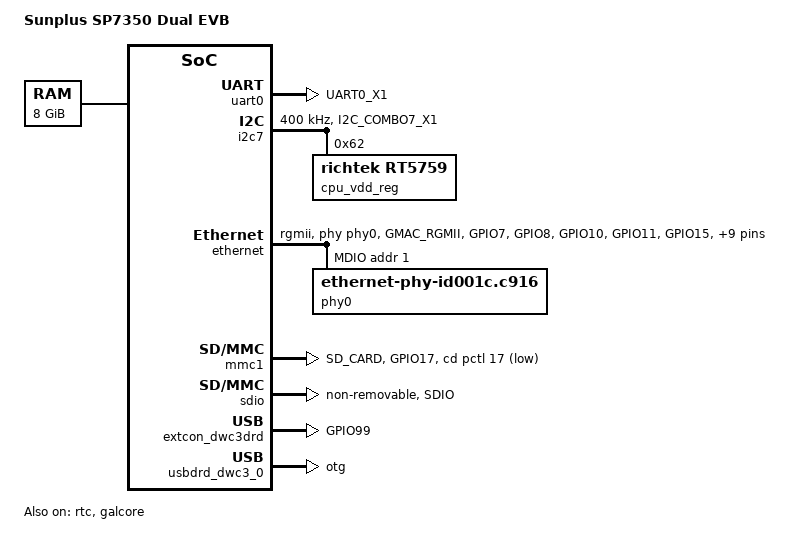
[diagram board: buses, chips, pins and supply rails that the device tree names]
// SPDX-License-Identifier: (GPL-2.0 OR MIT)
/* Copyright (c) 2018-2019 Sunplus */

//#define ENABLE_DMATX1
//#define ENABLE_DMATX2
//#define ENABLE_DMATX3
//#define ENABLE_DMATX6
//#define ENABLE_DMATX7

//#define SPI_LOOPBACK_MTTEST

//#define MIPI_CSI_4VC

#include "sp7350-common.dtsi"

/ {
	model = "Sunplus SP7350 Dual EVB";

	chosen {
		bootargs = "console=ttyS0,115200 earlycon loglevel=8 no_console_suspend ";
		stdout-path = "serial0:115200n8";
	};

	memory@0 {
		device_type = "memory";
		reg = <0x0 0x0        0x0 0xf0000000>,
		      <0x1 0x0        0x1 0x00000000>,
		      <0x3 0x0        0x0 0x10000000>;
	};

	reserved-memory {
		#address-cells = <2>;
		#size-cells = <2>;
		ranges;

		/* warmboot reserve memory: 0x100000-0x200000, total 1M, load firmware in rproc */
		rproc_0_reserved: rproc0@100000 {
			compatible = "shared-dma-pool";
			reg = <0x0 0x100000 0x0 0x100000>;
			no-map;
		};

		/* TF-A reserve memory: 0x200000-0x2fffff, total 1M */
		tfa_reserve@200000 {
			reg = <0x0 0x200000 0x0 0x100000>;
			no-map;
		};

		/*OP-TEE reserve memory: 0x300000-0x4fffff, total 2M */
		optee_reserve@300000 {
			reg = <0x0 0x300000 0x0 0x200000>;
			no-map;
		};

		/* remoteproc reserve memory: 0x5be00000-0x5befffff, total 1M */
		vdev0buffer: vdev0buffer@5be00000 {
			compatible = "shared-dma-pool";
			reg = <0x0 0x5be00000 0x0 0x100000>;
			no-map;
		};
		vdev0vring0: vdev0vring0@5bf00000 {
			compatible = "shared-dma-pool";
			reg = <0x0 0x5bf00000 0x0 0x10000>;
			no-map;
		};
		vdev0vring1: vdev0vring1@5bf10000 {
			compatible = "shared-dma-pool";
			reg = <0x0 0x5bf10000 0x0 0x10000>;
			no-map;
		};
		vdev0_reserve: vdev0_reserve@5bf20000 {
			compatible = "shared-dma-pool";
			reg = <0x0 0x5bf20000 0x0 0xe0000>;
			no-map;
		};

		/* NPU reserve memory: 0x780000000 ~ 0x7fffffff, total 128M */
		npu_reserve: npu_reserve@78000000 {
			reg = <0x0 0x78000000 0x0 0x8000000>;
			no-map;
		};

		/* CM4 reserve memory: 0xfa240000 ~ 0xfa29ffff, total 384K */
		rproc0runaddr: cm4runaddr@fa240000 {
			compatible = "shared-dma-pool";
			reg = <0x0 0xfa240000 0x0 0x60000>;
			no-map;
		};
	};

	cpu_opp_table: opp-table {
		compatible = "operating-points-v2";
		opp-shared;

		opp-5 {
			opp-hz = /bits/ 64 <500000000>;
			opp-microvolt = <670000>;
		};

		opp-10 {
			opp-hz = /bits/ 64 <1000000000>;
			opp-microvolt = <700000>;
		};

		opp-15 {
			opp-hz = /bits/ 64 <1500000000>;
			opp-microvolt = <750000>;
		};

		opp-16 {
			opp-hz = /bits/ 64 <1600000000>;
			opp-microvolt = <770000>;
		};

		opp-17 {
			opp-hz = /bits/ 64 <1700000000>;
			opp-microvolt = <800000>;
		};

		opp-18 {
			opp-hz = /bits/ 64 <1800000000>;
			opp-microvolt = <840000>;
		};

		/*opp-19 {
			opp-hz = /bits/ 64 <1900000000>;
			opp-microvolt = <1000000>;
		};

		opp-20 {
			opp-hz = /bits/ 64 <2000000000>;
			opp-microvolt = <1000000>;
		};

		opp-21 {
			opp-hz = /bits/ 64 <2100000000>;
			opp-microvolt = <1000000>;
		};*/
	};
};

&remoteproc0 {
	firmware = "firmware";
};

&npu_core_0v8 {
	startup-delay-us = <5000>;
	off-on-delay-us = <5000>;
	pinctrl-names = "default";
	pinctrl-0 = <&npu_pwr_en_pins>;
	gpio = <&pctl 65 GPIO_ACTIVE_HIGH>;
	enable-active-high;
};

&video_codec_core_0v8 {
	pinctrl-names = "default";
	pinctrl-0 = <&video_codec_pwr_en_pins>;
	gpio = <&pctl 66 GPIO_ACTIVE_HIGH>;
	enable-active-high;
	status = "disabled";
};

&uart0 {
	pinctrl-names = "default";
	pinctrl-0 = <&uart0_pins>;
};

&uart1 {
	pinctrl-names = "default";
	pinctrl-0 = <&uart1_pins &uart1_fc_pins>;
	status = "disabled";
};

&uart2 {
	pinctrl-names = "default";
	pinctrl-0 = <&uart2_pins &uart2_fc_pins>;
	status = "disabled";
};

&uart3 {
	pinctrl-names = "default";
	pinctrl-0 = <&uart3_pins>;
	status = "disabled";
};

&uadbg {
	pinctrl-names = "default";
	pinctrl-0 = <&uadbg_pins>;
	status = "disabled";
};

&uart6 {
	pinctrl-names = "default";
	pinctrl-0 = <&uart6_pins>;
	status = "disabled";
};

&uart7 {
	pinctrl-names = "default";
	pinctrl-0 = <&uart7_pins>;
	status = "disabled";
};

&thermal {
	//status = "disabled";
};

&cpu_thermal_zone {
	polling-delay-passive = <5000>;
	polling-delay = <1000>;

	sustainable-power = <100000>;

	passive = <80>;
	trips {
		cpu_hott: cpu-hott {
			temperature = <120000>;
			hysteresis  = <1000>;
			type = "hot";
		};
		cpu_crit: cpu-crit {
			temperature = <125000>;
			hysteresis  = <0>;
			type = "critical";
		};
		cpu_trip0: cpu0 {
			temperature = <70000>;
			hysteresis = <2000>;
			type = "passive";
		};
		cpu_trip1: cpu1 {
			temperature = <80000>;
			hysteresis = <2000>;
			type = "active";
		};
	};
};

&ahbdma1 {
	dma-requests = <16>;
	chan_allocation_order = <1>;
	chan_priority = <1>;
	block_size = <0xfff>;
	dma-masters = <4>;
	data-width = <2 2 2 2>;
	multi-block = <0 0 0 0 0 0 0 0>;
	snps,max-burst-len = <128 128 128 128 128 128 128 128>;
	status = "disabled";
};

&spi_controller0 {
	pinctrl-names = "default";
	pinctrl-0 = <&spi_master0_pins>;
	dmas = <&ahbdma1 0 0 0>,
	       <&ahbdma1 1 0 0>;
	dma-names = "rx", "tx";
	status = "disabled";

	spi@0 {
		compatible = "rohm,dh2228fv";
		spi-max-frequency = <5000000>;
		reg = <0x0>;
		status = "disabled";
	};
};

&spi_controller1 {
	pinctrl-names = "default";
	pinctrl-0 = <&spi_master1_pins>;
	dmas = <&ahbdma1 2 0 0>,
	       <&ahbdma1 3 0 0>;
	dma-names = "rx", "tx";
	status = "disabled";

	spi@0 {
		compatible = "rohm,dh2228fv";
		spi-max-frequency = <5000000>;
		reg = <0x0>;
		status = "disabled";
	};
};

&spi_controller2 {
	pinctrl-names = "default";
	pinctrl-0 = <&spi_master2_pins>;
	dmas = <&ahbdma1 4 0 0>,
	       <&ahbdma1 5 0 0>;
	dma-names = "rx", "tx";
	status = "disabled";

	spi@0 {
		compatible = "rohm,dh2228fv";
		spi-max-frequency = <5000000>;
		reg = <0x0>;
		status = "disabled";
	};
};

&spi_controller3 {
	pinctrl-names = "default";
	pinctrl-0 = <&spi_master3_pins>;
	dmas = <&ahbdma1 6 0 0>,
	       <&ahbdma1 7 0 0>;
	dma-names = "rx", "tx";
	status = "disabled";

	spi@0 {
		compatible = "rohm,dh2228fv";
		spi-max-frequency = <5000000>;
		reg = <0x0>;
		status = "disabled";
	};
};

&spi_controller4 {
	pinctrl-names = "default";
	pinctrl-0 = <&spi_master4_pins>;
	dmas = <&ahbdma1 6 0 0>,
	       <&ahbdma1 7 0 0>;
	dma-names = "rx", "tx";
	status = "disabled";

	spi@0 {
		compatible = "rohm,dh2228fv";
		spi-max-frequency = <5000000>;
		reg = <0x0>;
		status = "disabled";
	};
};

&spi_controller5 {
	pinctrl-names = "default";
	pinctrl-0 = <&spi_slave0_pins>;
	status = "disabled";
};

&i2c0 {
	i2c-sda-hold-time-ns = <1000>;
	//i2c-sda-falling-time-ns = <1>;
	//i2c-scl-falling-time-ns = <1>;
	//clock-frequency = <3400000>;
	clock-frequency = <400000>;
	pinctrl-names = "default";
	pinctrl-0 = <&i2c_combo0_pins>;
	status = "disabled";
};

&i2c1 {
	i2c-sda-hold-time-ns = <1000>;
	//i2c-sda-falling-time-ns = <1>;
	//i2c-scl-falling-time-ns = <1>;
	//clock-frequency = <3400000>;
	clock-frequency = <400000>;
	pinctrl-names = "default";
	pinctrl-0 = <&i2c_combo1_pins>;
	status = "disabled";
};

&i2c2 {
	i2c-sda-hold-time-ns = <1000>;
	clock-frequency = <400000>;
	pinctrl-names = "default";
	pinctrl-0 = <&i2c_combo2_pins>;
	status = "disabled";
};

&i2c3 {
	status = "disabled";
};

&i2c4 {
	i2c-sda-hold-time-ns = <1000>;
	clock-frequency = <400000>;
	pinctrl-names = "default";
	pinctrl-0 = <&i2c_combo4_pins>;
	status = "disabled";
};

&i2c5 {
	i2c-sda-hold-time-ns = <1000>;
	clock-frequency = <400000>;
	pinctrl-names = "default";
	pinctrl-0 = <&i2c_combo5_pins>;
	status = "disabled";
};

&i2c6 {
	i2c-sda-hold-time-ns = <1000>;
	clock-frequency = <400000>;
	pinctrl-names = "default";
	pinctrl-0 = <&i2c_combo6_pins>;
	status = "disabled";
};

&i2c7 {
	i2c-sda-hold-time-ns = <1000>;
	clock-frequency = <400000>;
	pinctrl-names = "default";
	pinctrl-0 = <&i2c_combo7_pins>;
	//status = "disabled";

	#address-cells = <1>;
	#size-cells = <0>;
	cpu_vdd_reg: regulator@62 {
		compatible = "richtek,rt5759";
		reg = <0x62>;
		regulator-name = "rt5759-buck";
		regulator-min-microvolt = <630000>;
		regulator-max-microvolt = <1100000>;
		regulator-allowed-modes = <0 1>;	// 0: auto mode (PSKIP), 1: force pwm mode
		regulator-initial-mode = <1>;
		regulator-always-on;
	};
};

&i2c8 {
	i2c-sda-hold-time-ns = <1000>;
	clock-frequency = <400000>;
	pinctrl-names = "default";
	pinctrl-0 = <&i2c_combo8_pins>;
	status = "disabled";
};

&i2c9 {
	i2c-sda-hold-time-ns = <1000>;
	clock-frequency = <400000>;
	pinctrl-names = "default";
	pinctrl-0 = <&i2c_combo9_pins>;
	status = "disabled";
};

&mipicsirx0 {
	status = "disabled";
};

&vin0 {
	status = "disabled";
};

&vin1 {
	status = "disabled";
};

&mipicsirx1 {
	status = "disabled";
};

&vin2 {
	status = "disabled";
};

&vin3 {
	status = "disabled";
};

&mipicsirx2 {
	status = "disabled";
};

&vin4 {
	status = "disabled";
};

&vin5 {
	status = "disabled";
};

#ifndef MIPI_CSI_4VC
&mipicsirx3 {
	status = "disabled";
};
#endif

&vin6 {
	status = "disabled";
};

&vin7 {
	status = "disabled";
};

&mipicsirx4 {
	status = "disabled";
};

&vin8 {
	status = "disabled";
};

&vin9 {
	status = "disabled";
};

&mipicsirx5 {
	status = "disabled";
};

&vin10 {
	status = "disabled";
};

&vin11 {
	status = "disabled";
};

&vin12 {
	status = "disabled";
};

&vin13 {
	status = "disabled";
};

&display {
	status = "disabled";
};

&adc {
	//status = "disabled";
};

&pwm {
	pinctrl-names = "default";
	pinctrl-0 = <&pwm0_pins &pwm1_pins &pwm2_pins &pwm3_pins>;
	status = "disabled";
};

&rtc {
	status = "okay";
};

&dmac {
	snps,dma-masters = <2>;
	snps,data-width = <4>;
	snps,block-size = <4096 4096 4096 4096 4096 4096 4096 4096
			   4096 4096 4096 4096 4096 4096 4096 4096>;
	snps,priority = <0 1 2 3 4 5 6 7 8 9 10 11 12 13 14 15>;
	snps,axi-max-burst-len = <16>;
};

&ethernet {
	clock-frequency = <125000000>;
	mac-mode = "rgmii";

	/* Reset time is 30ms, 150ms for rtl8211f */
	snps,reset-delays-us = <0 30000 150000>;
	/* fixed-burst-->speed little high*/
	snps,mixed-burst;
	//snps,fixed-burst;
	/* default threshold=64, real use 128 */
	//snps,force_thresh_dma_mode;
	/* default */
	snps,force_sf_dma_mode;
	/*LPI switch*/
	snps,en-tx-lpi-clockgating;
	snps,multicast-filter-bins = <256>;
	snps,perfect-filter-entries = <128>;
	snps,ps-speed = <1000>;
	//snps,pbl = <16>;
	//snps,txpbl = <16>;
	//snps,rxpbl = <16>;
	//snps,no-pbl-x8;
	//snps,tso;
	rx-fifo-depth = <16384>;
	tx-fifo-depth = <16384>;

	clk_csr = <4>;
	phy-mode = "rgmii";
	phy-handle = <&phy0>;
	/*id-->use phy hardway tx/rx delay 2ns, txid-->use phy hardway tx delay 2ns, rxid-->use phy hardway rx delay 2ns*/
	//phy-mode = "rgmii-id";
	//phy-mode = "rgmii-txid";
	//phy-mode = "rgmii-rxid";

	pinctrl-names = "default";
	pinctrl-0 = <&gmac_pins>;
	//status = "disabled";

	mdio0 {
		#address-cells = <1>;
		#size-cells = <0>;
		compatible = "snps,dwmac-mdio";
		phy0: ethernet-phy@0 {
			compatible = "ethernet-phy-id001c.c916", "ethernet-phy-ieee802.3-c22";
			reg = <1>;
			reset-assert-us = <1000>;
			reset-deassert-us = <2000>;
		};
	};
};

&mmc0 {
	max-frequency = <45000000>;
	mmc-ddr-1_8v;
	#mmc-hs200-1_8v;
	#mmc-hs400-1_8v;
	#mmc-hs400-enhanced-strobe;
};

&mmc1 {
	pinctrl-names = "default";
	pinctrl-0 = <&sdcard_pins &sdcard_cd_pins>;
	cd-gpios = <&pctl 17 GPIO_ACTIVE_LOW>;
	delay-val = <0x777110>;
	max-frequency = <200000000>;
	disable-wp;
	cap-sd-highspeed;
	sd-uhs-sdr12;
	sd-uhs-sdr25;
	sd-uhs-sdr50;
	sd-uhs-sdr104;
	sd-uhs-ddr50;
};

&sdio {
	pinctrl-names = "default";
	pinctrl-0 = <&sdio_pins>;
	delay-val = <0x777110>;
	max-frequency = <200000000>;
	non-removable;
	disable-wp;
	cap-sd-highspeed;
	sd-uhs-sdr12;
	sd-uhs-sdr25;
	sd-uhs-sdr50;
	sd-uhs-sdr104;
	sd-uhs-ddr50;
	cap-sdio-irq;
	keep-power-in-suspend;
	no-sd;
	no-mmc;
	#address-cells = <1>;
	#size-cells = <0>;
	//status = "disabled";
};

&sp_uphy0 {
	status = "disabled";
	pinctrl-names = "default";
	pinctrl-0 = <&otg_pins>;
};

&extcon_dwc3drd {
	pinctrl-names = "default";
	pinctrl-0 = <&dwc3id_pins>;
	id-gpios = <&pctl 99 GPIO_ACTIVE_HIGH>;
};

&usbdrd_dwc3_0 {
	maximum-speed = "super-speed";
	dr_mode = "otg";
	usb-role-switch;
};

&u3phy0 {
	pinctrl-names = "default";
	pinctrl-0 = <&typec_pins>;
	typec-gpios = <&pctl 98 GPIO_ACTIVE_HIGH>;
};

&pcm_driver {
	status = "disabled";
};

&aud_codec {
	status = "disabled";
};

&audio {
	status = "disabled";
};

&sp_spinor0 {
	status = "disabled";
};

&spinand0 {
	status = "disabled";
};

&bch0 {
};

&paranand0 {
	status = "disabled";
};

&video_codec_dec {
	status = "disabled";
};

&video_codec_enc {
	status = "disabled";
};

&vcodec_emem {
	status = "disabled";
};

&vcodec_dmem {
	status = "disabled";
};

&vcodec_v4l2_mem {
	status = "disabled";
};

&galcore {
	status = "okay";
};

&watchdog {
	timeout-sec = <10>;
	status = "disabled";
};

&stc {
	stc-src-sel = /bits/ 8 <1>;
	stc-freq = <100000>;
};
&stc_timer0 {
	timer-mode = /bits/ 8 <1>;
};
&stc_timer1 {
	timer-mode = /bits/ 8 <1>;
};
&stc_timer2 {
	timer-mode = /bits/ 8 <1>;
};
&stc_timer3 {
	timer-mode = /bits/ 8 <1>;
};

&stc_av0 {
	stc-src-sel = /bits/ 8 <1>;
	stc-freq = <100000>;
};
&stc_av0_timer0 {
	timer-mode = /bits/ 8 <1>;
};
&stc_av0_timer1 {
	timer-mode = /bits/ 8 <1>;
};
&stc_av0_timer2 {
	timer-mode = /bits/ 8 <1>;
};
&stc_av0_timer3 {
	timer-mode = /bits/ 8 <1>;
};

&stc_av1 {
	stc-src-sel = /bits/ 8 <1>;
	stc-freq = <100000>;
};
&stc_av1_timer0 {
	timer-mode = /bits/ 8 <1>;
};
&stc_av1_timer1 {
	timer-mode = /bits/ 8 <1>;
};
&stc_av1_timer2 {
	timer-mode = /bits/ 8 <1>;
};
&stc_av1_timer3 {
	timer-mode = /bits/ 8 <1>;
};

&stc_av2 {
	stc-src-sel = /bits/ 8 <1>;
	stc-freq = <100000>;
};
&stc_av2_timer0 {
	timer-mode = /bits/ 8 <1>;
};
&stc_av2_timer1 {
	timer-mode = /bits/ 8 <1>;
};
&stc_av2_timer2 {
	timer-mode = /bits/ 8 <1>;
};
&stc_av2_timer3 {
	timer-mode = /bits/ 8 <1>;
};

&stc_av4 {
	stc-src-sel = /bits/ 8 <1>;
	stc-freq = <100000>;
};
&stc_av4_timer0 {
	timer-mode = /bits/ 8 <1>;
};
&stc_av4_timer1 {
	timer-mode = /bits/ 8 <1>;
};
&stc_av4_timer2 {
	timer-mode = /bits/ 8 <1>;
};
&stc_av4_timer3 {
	timer-mode = /bits/ 8 <1>;
};

&pctl {
	//sunplus,ms-dvio-group-0 = "1V8";
	//sunplus,ms-dvio-group-1 = "1V8";
	//sunplus,ms-dvio-ao-group-0 = "1V8";
	//sunplus,ms-dvio-ao-group-1 = "1V8";
	//sunplus,ms-dvio-ao-group-2 = "1V8";

	sunplus,ao-pin-prescale = <2500>;
	sunplus,ao-pin-debounce = <10>;

	emmc_pins: pinmux_emmc-pins {
		function = "EMMC";
		groups = "EMMC";
		drive-strength-microamp = <SPPCTRL_DVIO_DRV_IOH_17700_IOL_21800UA>;	// for HS200
		//drive-strength-microamp = <SPPCTRL_DVIO_DRV_IOH_30300_IOL_37200UA>;	// for HS400
	};

	sdcard_pins: pinmux_sdcard-pins {
		function = "SD_CARD";
		groups = "SD_CARD";
		drive-strength-microamp = <SPPCTRL_DVIO_DRV_IOH_17700_IOL_21800UA>;
	};

	sdcard_cd_pins: pinmux_sdcard_cd-pins {
		function = "GPIO";
		pins = "GPIO17";
	};

	typec_pins: pinmux_typec-pins {
		function = "GPIO";
		pins = "GPIO98";
	};

	dwc3id_pins: pinmux_usb3id-pins {
		function = "GPIO";
		pins = "GPIO99";
	};

	npu_pwr_en_pins: pinmux_video_npu_pwr_en-pins {
		function = "GPIO";
		pins = "GPIO65";
	};

	video_codec_pwr_en_pins: pinmux_video_codec_pwr_en-pins {
		function = "GPIO";
		pins = "GPIO66";
	};

	uart0_pins: pinmux_uart0-pins {
		function = "UART0";
		groups = "UART0_X1";
		drive-strength-microamp = <SPPCTRL_DVIO_DRV_IOH_15200_IOL_18700UA>;
	};

	uart1_pins: pinmux_uart1-pins {
		function = "UART1";
		groups = "UART1_X1";
		drive-strength-microamp = <SPPCTRL_DVIO_DRV_IOH_15200_IOL_18700UA>;
	};
	uart1_fc_pins: pinmux_uart1_fc-pins {
		function = "UART1_FC";
		groups = "UART1_FC_X1";
		drive-strength-microamp = <SPPCTRL_DVIO_DRV_IOH_15200_IOL_18700UA>;
	};

	uart2_pins: pinmux_uart2-pins {
		function = "UART2";
		groups = "UART2_X1";
		drive-strength-microamp = <SPPCTRL_DVIO_DRV_IOH_15200_IOL_18700UA>;
	};
	uart2_fc_pins: pinmux_uart2_fc-pins {
		function = "UART2_FC";
		groups = "UART2_FC_X1";
		drive-strength-microamp = <SPPCTRL_DVIO_DRV_IOH_15200_IOL_18700UA>;
	};

	uart3_pins: pinmux_uart3-pins {
		function = "UART3";
#if 1 // X1
		groups = "UART3_X1";
		drive-strength-microamp = <SPPCTRL_DVIO_DRV_IOH_15200_IOL_18700UA>;
#else // X2
		groups = "UART3_X2";
		drive-strength-microamp = <SPPCTRL_GPIO_DRV_IOH_9900_IOL_9900UA>;
#endif
	};

	uadbg_pins: pinmux_uadbg-pins {
		function = "UADBG";
		groups = "UADBG";
		drive-strength-microamp = <SPPCTRL_GPIO_DRV_IOH_6600_IOL_6600UA>;
	};

	uart6_pins: pinmux_uart6-pins {
		function = "UART6";
		groups = "UART6_X1";
		drive-strength-microamp = <SPPCTRL_GPIO_DRV_IOH_6600_IOL_6600UA>;
	};

	uart7_pins: pinmux_uart7-pins {
		function = "UART7";
		groups = "UART7";
		drive-strength-microamp = <SPPCTRL_GPIO_DRV_IOH_6600_IOL_6600UA>;
	};

	spi_master0_pins: pinmux_spi_master0-pins {
		function = "SPI_MASTER0";
#if 1 // X1
		groups = "SPI_MASTER0_X1";
		drive-strength-microamp = <SPPCTRL_DVIO_DRV_IOH_15200_IOL_18700UA>;
#else // X2
		groups = "SPI_MASTER0_X2";
		drive-strength-microamp = <SPPCTRL_GPIO_DRV_IOH_9900_IOL_9900UA>;
#endif
	};
	spi_master1_pins: pinmux_spi_master1-pins {
		function = "SPI_MASTER1";
		groups = "SPI_MASTER1_X1";
		drive-strength-microamp = <SPPCTRL_GPIO_DRV_IOH_14800_IOL_14800UA>;
	};
	spi_master2_pins: pinmux_spi_master2-pins {
		function = "SPI_MASTER2";
		groups = "SPI_MASTER2";
		drive-strength-microamp = <SPPCTRL_GPIO_DRV_IOH_14800_IOL_14800UA>;
	};
	spi_master3_pins: pinmux_spi_master3-pins {
		function = "SPI_MASTER3";
		groups = "SPI_MASTER3_X2";
		drive-strength-microamp = <SPPCTRL_DVIO_DRV_IOH_15200_IOL_18700UA>;
	};
	spi_master4_pins: pinmux_spi_master4-pins {
		function = "SPI_MASTER4";
		groups = "SPI_MASTER4";
		drive-strength-microamp = <SPPCTRL_DVIO_DRV_IOH_15200_IOL_18700UA>;
	};
	spi_slave0_pins: pinmux_spi_slave0-pins {
		function = "SPI_SLAVE0";
#if 1 // X1
		groups = "SPI_SLAVE0_X1";
		drive-strength-microamp = <SPPCTRL_GPIO_DRV_IOH_9900_IOL_9900UA>;
#else // X2
		groups = "SPI_SLAVE0_X2";
		drive-strength-microamp = <SPPCTRL_DVIO_DRV_IOH_15200_IOL_18700UA>;
#endif
	};

	i2c_combo0_pins: pinmux_i2c_combo0-pins {
		function = "I2C_COMBO0";
		groups = "I2C_COMBO0_X1";
		drive-strength-microamp = <SPPCTRL_DVIO_DRV_IOH_15200_IOL_18700UA>;
	};
	i2c_combo1_pins: pinmux_i2c_combo1-pins {
		function = "I2C_COMBO1";
		groups = "I2C_COMBO1";
		drive-strength-microamp = <SPPCTRL_DVIO_DRV_IOH_15200_IOL_18700UA>;
	};
	i2c_combo2_pins: pinmux_i2c_combo2-pins {
		function = "I2C_COMBO2";
		groups = "I2C_COMBO2_X1";
		drive-strength-microamp = <SPPCTRL_DVIO_DRV_IOH_15200_IOL_18700UA>;
	};
	i2c_combo3_pins: pinmux_i2c_combo3-pins {
		function = "I2C_COMBO3";
		groups = "I2C_COMBO3";
		drive-strength-microamp = <SPPCTRL_GPIO_DRV_IOH_9900_IOL_9900UA>;
	};
	i2c_combo4_pins: pinmux_i2c_combo4-pins {
		function = "I2C_COMBO4";
		groups = "I2C_COMBO4";
		drive-strength-microamp = <SPPCTRL_GPIO_DRV_IOH_9900_IOL_9900UA>;
	};
	i2c_combo5_pins: pinmux_i2c_combo5-pins {
		function = "I2C_COMBO5";
		groups = "I2C_COMBO5";
		drive-strength-microamp = <SPPCTRL_GPIO_DRV_IOH_9900_IOL_9900UA>;
	};
	i2c_combo6_pins: pinmux_i2c_combo6-pins {
		function = "I2C_COMBO6";
		groups = "I2C_COMBO6_X1";
		drive-strength-microamp = <SPPCTRL_GPIO_DRV_IOH_16400_IOL_16500UA>;
	};
	i2c_combo7_pins: pinmux_i2c_combo7-pins {
		function = "I2C_COMBO7";
		groups = "I2C_COMBO7_X1";
		drive-strength-microamp = <SPPCTRL_GPIO_DRV_IOH_9900_IOL_9900UA>;
	};
	i2c_combo8_pins: pinmux_i2c_combo8-pins {
		function = "I2C_COMBO8";
		groups = "I2C_COMBO8_X1";
		drive-strength-microamp = <SPPCTRL_GPIO_DRV_IOH_9900_IOL_9900UA>;
	};
	i2c_combo9_pins: pinmux_i2c_combo9-pins {
		function = "I2C_COMBO9";
		groups = "I2C_COMBO9_X1";
		drive-strength-microamp = <SPPCTRL_GPIO_DRV_IOH_9900_IOL_9900UA>;
	};

	gmac_pins: pinmux_gmac-pins {
		pinmux{
			function = "GMAC";
			groups = "GMAC_RGMII";
		};
		pinconf0 {
			pins = "GPIO7","GPIO8","GPIO10","GPIO11","GPIO15","GPIO16";
			drive-strength-microamp = <SPPCTRL_GPIO_DRV_IOH_16400_IOL_16500UA>;
		};
		pinconf1 {
			pins = "GPIO3","GPIO4","GPIO5","GPIO6","GPIO13","GPIO14";
			drive-strength-microamp = <SPPCTRL_GPIO_DRV_IOH_8200_IOL_8300UA>;
		};
		pinconf3 {
			pins = "GPIO9","GPIO12";
			drive-strength-microamp = <SPPCTRL_GPIO_DRV_IOH_8200_IOL_8300UA>;
		};
	};

	otg_pins: pinmux_otg_pins {
		function = "USB_OTG";
		groups = "USB_OTG";
	};

	sdio_pins: pinmux_sdio-pins {
		function = "SDIO";
		groups = "SDIO";
		drive-strength-microamp = <SPPCTRL_DVIO_DRV_IOH_17700_IOL_21800UA>;
	};

	pwm0_pins: pinmux_pwm0-pins {
		function = "PWM0";
		groups = "PWM0_X1";
		drive-strength-microamp = <SPPCTRL_DVIO_DRV_IOH_15200_IOL_18700UA>;
	};

	pwm1_pins: pinmux_pwm1-pins {
		function = "PWM1";
		groups = "PWM1_X1";
		drive-strength-microamp = <SPPCTRL_DVIO_DRV_IOH_15200_IOL_18700UA>;
	};

	pwm2_pins: pinmux_pwm2-pins {
		function = "PWM2";
#if 1 // X1
		groups = "PWM2_X1";
		drive-strength-microamp = <SPPCTRL_DVIO_DRV_IOH_15200_IOL_18700UA>;
#else // X2
		groups = "PWM2_X2";
		drive-strength-microamp = <SPPCTRL_GPIO_DRV_IOH_9900_IOL_9900UA>;
#endif
	};

	pwm3_pins: pinmux_pwm3-pins {
		function = "PWM3";
#if 1 // X1
		groups = "PWM3_X1";
		drive-strength-microamp = <SPPCTRL_DVIO_DRV_IOH_15200_IOL_18700UA>;
#else // X2
		groups = "PWM3_X2";
		drive-strength-microamp = <SPPCTRL_GPIO_DRV_IOH_9900_IOL_9900UA>;
#endif
	};

	gpio_int0_pins: pinmux_gpio_int0-pins {
		function = "INT0";
		groups = "INT0_X1";
	};
	gpio_int1_pins: pinmux_gpio_int1-pins {
		function = "INT1";
		groups = "INT1_X1";
	};
	gpio_int2_pins: pinmux_gpio_int2-pins {
		function = "INT2";
		groups = "INT2_X1";
	};
	gpio_int3_pins: pinmux_gpio_int3-pins {
		function = "INT3";
		groups = "INT3_X1";
	};
	gpio_int4_pins: pinmux_gpio_int4-pins {
		function = "INT4";
		groups = "INT4_X1";
	};
	gpio_int5_pins: pinmux_gpio_int5-pins {
		function = "INT5";
		groups = "INT5_X1";
	};
	gpio_int6_pins: pinmux_gpio_int6-pins {
		function = "INT6";
		groups = "INT6_X1";
	};
	gpio_int7_pins: pinmux_gpio_int7-pins {
		function = "INT7";
		groups = "INT7_X1";
	};

	gpio_ao_int0_pins: pinmux_gpio_ao_int0-pins {
		function = "GPIO_AO_INT0";
		groups = "GPIO_AO_INT0_X1";
		sunplus,ao-pins = <
			SPPCTL_AOIOPAD(0, SPPCTL_AOPIN_OUT0)
			SPPCTL_AOIOPAD(1, SPPCTL_AOPIN_OUT1)
		>;
	};
	gpio_ao_int1_pins: pinmux_gpio_ao_int1-pins {
		function = "GPIO_AO_INT1";
		groups = "GPIO_AO_INT1_X1";
		sunplus,ao-pins = <
			SPPCTL_AOIOPAD(8, 0)
			SPPCTL_AOIOPAD(15, SPPCTL_AOPIN_DEB)
		>;
	};
	gpio_ao_int2_pins: pinmux_gpio_ao_int2-pins {
		function = "GPIO_AO_INT2";
		groups = "GPIO_AO_INT2_X1";
		sunplus,ao-pins = < SPPCTL_AOIOPAD(16, 0) >;
	};
	gpio_ao_int3_pins: pinmux_gpio_ao_int3-pins {
		function = "GPIO_AO_INT3";
		groups = "GPIO_AO_INT3_X1";
		sunplus,ao-pins = < SPPCTL_AOIOPAD(31, 0) >;
	};
};

&fb_disp_device {
	status = "disabled";
};
&drm_display_engine {
	status = "disabled";
};
&crtc0 {
	status = "disabled";
};
&dsi0 {
	status = "disabled";
};
